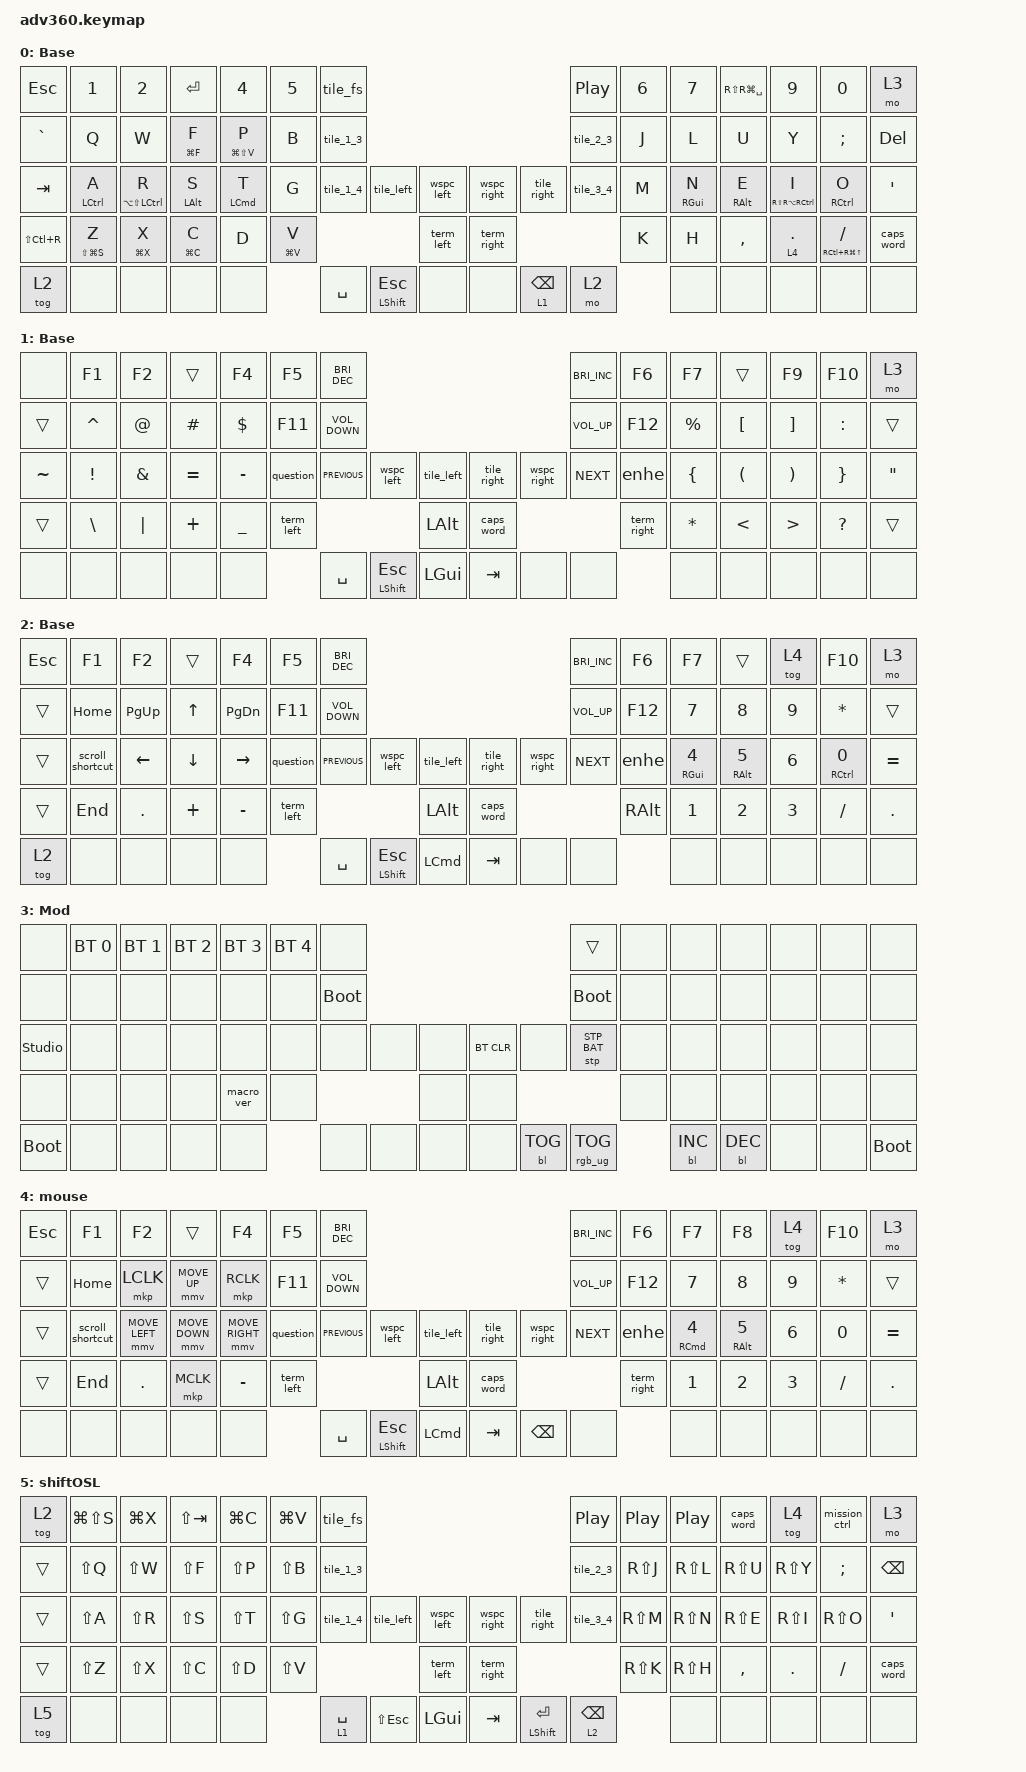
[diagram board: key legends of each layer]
#include <dt-bindings/zmk/stp.h>
#include <behaviors.dtsi>
#include <dt-bindings/zmk/backlight.h>
#include <dt-bindings/zmk/bt.h>
#include <dt-bindings/zmk/keys.h>
#include <dt-bindings/zmk/pointing.h>
#include <dt-bindings/zmk/rgb.h>

/ {
    behaviors {
        #include "macros.dtsi"
      #include "version.dtsi"

        hm: homerow_mods {
            compatible = "zmk,behavior-hold-tap";
            label = "HOMEROW_MODS";
            #binding-cells = <2>;
            tapping-term-ms = <160>;
            flavor = "tap-preferred";
            bindings = <&kp>, <&kp>;
        };

        dtap_cv: dtap_cv {
            compatible = "zmk,behavior-tap-dance";
            label = "DTAP_CV";
            #binding-cells = <0>;
            tapping-term-ms = <200>;
            bindings = <&kp LG(C)>, <&kp LG(V)>;
        };

        hold_tap_qk: hold_tap_qk {
            compatible = "zmk,behavior-hold-tap";
            label = "HOLD_TAP_QK";
            bindings = <&kp>, <&kp>;

            #binding-cells = <2>;
            tapping-term-ms = <150>;
            quick-tap-ms = <0>;
            flavor = "tap-preferred";
        };

        dtap_pn: dtap_pn {
            compatible = "zmk,behavior-tap-dance";
            label = "DTAP_PN";
            #binding-cells = <0>;
            tapping-term-ms = <150>;
            bindings = <&kp C_NEXT>, <&kp C_PREVIOUS>;
        };
    };

    macros {
        enhe: enhe {
            compatible = "zmk,behavior-macro";
            #binding-cells = <0>;
            bindings = <&kp RA(N) &kp N>;
            label = "ENHE";
        };

        question: question {
            compatible = "zmk,behavior-macro";
            #binding-cells = <0>;
            bindings = <&kp RA(QUESTION)>;
            label = "QUESTION";
        };

        paste_history: copy_history {
            compatible = "zmk,behavior-macro";
            #binding-cells = <0>;
            bindings = <&kp RG(RS(V))>;
            label = "COPY_HISTORY";
        };

        sc_area: area_sc {
            compatible = "zmk,behavior-macro";
            #binding-cells = <0>;
            bindings = <&kp LG(LS(S))>;
            label = "AREA_SC";
        };

        tile_left: tile_left {
            compatible = "zmk,behavior-macro";
            #binding-cells = <0>;
            bindings = <&kp LA(LC(LEFT_ARROW))>;
            label = "TILE_LEFT";
        };

        tile_right: tile_right {
            compatible = "zmk,behavior-macro";
            #binding-cells = <0>;
            bindings = <&kp LA(LC(RIGHT_ARROW))>;
            label = "TILE_RIGHT";
        };

        tile_1_3: tile_1_3 {
            compatible = "zmk,behavior-macro";
            #binding-cells = <0>;
            bindings = <&kp LA(LC(G))>;
            label = "TILE_1_3";
        };

        tile_2_3: tile_2_3 {
            compatible = "zmk,behavior-macro";
            #binding-cells = <0>;
            bindings = <&kp LA(LC(E))>;
            label = "TILE_2_3";
        };

        tile_fs: tile_fs {
            compatible = "zmk,behavior-macro";
            #binding-cells = <0>;
            bindings = <&kp LA(LC(ENTER))>;
            label = "TILE_FS";
        };

        wspc_left: new_macro {
            compatible = "zmk,behavior-macro";
            #binding-cells = <0>;
            bindings = <&kp LG(LC(LEFT_ARROW))>;
            label = "NEW_MACRO";
        };

        wspc_right: wspc_left {
            compatible = "zmk,behavior-macro";
            #binding-cells = <0>;
            bindings = <&kp RG(RC(RIGHT_ARROW))>;
            label = "WSPC_LEFT";
        };

        term_left: term_left {
            compatible = "zmk,behavior-macro";
            #binding-cells = <0>;
            bindings = <&kp LG(LA(LEFT_ARROW))>;
            label = "TERM_LEFT";
        };

        term_right: term_right {
            compatible = "zmk,behavior-macro";
            #binding-cells = <0>;
            bindings = <&kp LG(LA(RIGHT_ARROW))>;
            label = "TERM_RIGHT";
        };

        mission_ctrl: mission_ctrl {
            compatible = "zmk,behavior-macro";
            #binding-cells = <0>;
            bindings = <&kp RG(RC(UP_ARROW))>;
            label = "MISSION_CTRL";
        };

        tile_1_4: tile_1_4 {
            compatible = "zmk,behavior-macro";
            #binding-cells = <0>;
            bindings = <&kp LA(LC(F))>;
            label = "TILE_1_4";
        };

        tile_3_4: tile_3_4 {
            compatible = "zmk,behavior-macro";
            #binding-cells = <0>;
            bindings = <&kp LA(LC(N))>;
            label = "TILE_3_4";
        };

        scroll_shortcut: scroll_shortcut {
            compatible = "zmk,behavior-macro";
            #binding-cells = <0>;
            bindings = <&kp RG(RS(RC(SPACE)))>;
            label = "SCROLL_SHORTCUT";
        };

        homerow_sc: homerow_sc {
            compatible = "zmk,behavior-macro";
            #binding-cells = <0>;
            bindings = <&kp RG(RS(SPACE))>;
            label = "HOMEROW_SC";
        };

        d_esc: d_esc {
            compatible = "zmk,behavior-macro";
            #binding-cells = <0>;
            bindings = <&kp ESCAPE &kp ESCAPE>;
            label = "D_ESC";
            wait-ms = <50>;
        };
    };

    combos { compatible = "zmk,combos"; };

    keymap {
        compatible = "zmk,keymap";

        base {
            display-name = "Base";
            bindings = <
&kp ESCAPE     &kp N1           &kp N2               &kp ENTER       &kp N4              &kp N5       &tile_fs                                                                                 &kp C_PLAY_PAUSE  &kp N6  &kp N7           &kp RS(RG(SPACE))  &kp N9               &kp N0                      &mo 3
&kp GRAVE      &kp Q            &kp W                &hm LG(F) F     &hm LG(LS(V)) P     &kp B        &tile_1_3                                                                                &tile_2_3         &kp J   &kp L            &kp U              &kp Y                &kp SEMI                    &kp DELETE
&kp TAB        &hm LCTRL A      &hm LA(LS(LCTRL)) R  &hm LEFT_ALT S  &hm LEFT_COMMAND T  &kp G        &tile_1_4  &tile_left                      &wspc_left      &wspc_right  &tile_right      &tile_3_4         &kp M   &hm RIGHT_GUI N  &hm RIGHT_ALT E    &hm RS(RA(RCTRL)) I  &hm RCTRL O                 &kp SQT
&kp LS(LC(R))  &hm LS(LG(S)) Z  &hm LG(X) X          &hm LG(C) C     &kp D               &hm LG(V) V                                             &term_left      &term_right                                     &kp K   &kp H            &kp COMMA          &lt 4 PERIOD         &hm RC(RG(UP_ARROW)) SLASH  &caps_word
&tog 2         &none            &none                &none           &none                            &kp SPACE  &hold_tap_qk LEFT_SHIFT ESCAPE  &none           &none        &lt 1 BACKSPACE  &mo 2                     &none            &none              &none                &none                       &none
            >;
        };

        symbol {
            display-name = "Base";
            bindings = <
&none      &kp F1           &kp F2         &trans     &kp F4          &kp F5      &kp C_BRIGHTNESS_DEC                                                                              &kp C_BRIGHTNESS_INC  &kp F6       &kp F7          &trans                &kp F9                 &kp F10          &mo 3
&trans     &kp CARET        &kp AT_SIGN    &kp POUND  &kp DOLLAR      &kp F11     &kp C_VOLUME_DOWN                                                                                 &kp C_VOLUME_UP       &kp F12      &kp PERCENT     &kp LEFT_BRACKET      &kp RIGHT_BRACKET      &kp COLON        &trans
&kp TILDE  &kp EXCLAMATION  &kp AMPERSAND  &kp EQUAL  &kp MINUS       &question   &kp C_PREVIOUS        &wspc_left                      &tile_left        &tile_right  &wspc_right  &kp C_NEXT            &enhe        &kp LEFT_BRACE  &kp LEFT_PARENTHESIS  &kp RIGHT_PARENTHESIS  &kp RIGHT_BRACE  &kp DOUBLE_QUOTES
&trans     &kp BACKSLASH    &kp PIPE       &kp PLUS   &kp UNDERSCORE  &term_left                                                        &kp LEFT_ALT      &caps_word                                      &term_right  &kp ASTERISK    &kp LESS_THAN         &kp GREATER_THAN       &kp QUESTION     &trans
&none      &none            &none          &none      &none                       &kp SPACE             &hold_tap_qk LEFT_SHIFT ESCAPE  &kp LEFT_GUI      &kp TAB      &none        &none                              &none           &none                 &none                  &none            &none
            >;
        };

        nav {
            display-name = "Base";
            bindings = <
&kp ESCAPE  &kp F1            &kp F2          &trans          &kp F4           &kp F5      &kp C_BRIGHTNESS_DEC                                                                                  &kp C_BRIGHTNESS_INC  &kp F6         &kp F7                  &trans                  &tog 4        &kp F10             &mo 3
&trans      &kp HOME          &kp PAGE_UP     &kp UP_ARROW    &kp PAGE_DOWN    &kp F11     &kp C_VOLUME_DOWN                                                                                     &kp C_VOLUME_UP       &kp F12        &kp NUMBER_7            &kp NUMBER_8            &kp NUMBER_9  &kp STAR            &trans
&trans      &scroll_shortcut  &kp LEFT_ARROW  &kp DOWN_ARROW  &kp RIGHT_ARROW  &question   &kp C_PREVIOUS        &wspc_left                      &tile_left            &tile_right  &wspc_right  &kp C_NEXT            &enhe          &hm RIGHT_GUI NUMBER_4  &hm RIGHT_ALT NUMBER_5  &kp NUMBER_6  &hm RCTRL NUMBER_0  &kp EQUAL
&trans      &kp END           &kp DOT         &kp PLUS        &kp MINUS        &term_left                                                        &kp LEFT_ALT          &caps_word                                      &kp RIGHT_ALT  &kp NUMBER_1            &kp NUMBER_2            &kp NUMBER_3  &kp SLASH           &kp DOT
&tog 2      &none             &none           &none           &none                        &kp SPACE             &hold_tap_qk LEFT_SHIFT ESCAPE  &kp LEFT_COMMAND      &kp TAB      &none        &none                                &none                   &none                   &none         &none               &none
            >;
        };

        mod {
            display-name = "Mod";
            bindings = <
&none           &bt BT_SEL 0  &bt BT_SEL 1  &bt BT_SEL 2  &bt BT_SEL 3  &bt BT_SEL 4  &none                                                  &trans           &none  &none       &none       &none  &none  &none
&none           &none         &none         &none         &none         &none         &bootloader                                            &bootloader      &none  &none       &none       &none  &none  &none
&studio_unlock  &none         &none         &none         &none         &none         &none        &none  &none      &bt BT_CLR  &none       &stp STP_BAT     &none  &none       &none       &none  &none  &none
&none           &none         &none         &none         &macro_ver    &none                             &none      &none                                    &none  &none       &none       &none  &none  &none
&bootloader     &none         &none         &none         &none                       &none        &none  &none      &none       &bl BL_TOG  &rgb_ug RGB_TOG         &bl BL_INC  &bl BL_DEC  &none  &none  &bootloader
            >;
        };

        mouse {
            display-name = "mouse";
            bindings = <
&kp ESCAPE  &kp F1            &kp F2          &trans          &kp F4           &kp F5      &kp C_BRIGHTNESS_DEC                                                                                    &kp C_BRIGHTNESS_INC  &kp F6       &kp F7                      &kp F8                  &tog 4        &kp F10       &mo 3
&trans      &kp HOME          &mkp LCLK       &mmv MOVE_UP    &mkp RCLK        &kp F11     &kp C_VOLUME_DOWN                                                                                       &kp C_VOLUME_UP       &kp F12      &kp NUMBER_7                &kp NUMBER_8            &kp NUMBER_9  &kp STAR      &trans
&trans      &scroll_shortcut  &mmv MOVE_LEFT  &mmv MOVE_DOWN  &mmv MOVE_RIGHT  &question   &kp C_PREVIOUS        &wspc_left                      &tile_left            &tile_right  &wspc_right    &kp C_NEXT            &enhe        &hm RIGHT_COMMAND NUMBER_4  &hm RIGHT_ALT NUMBER_5  &kp NUMBER_6  &kp NUMBER_0  &kp EQUAL
&trans      &kp END           &kp DOT         &mkp MCLK       &kp MINUS        &term_left                                                        &kp LEFT_ALT          &caps_word                                        &term_right  &kp NUMBER_1                &kp NUMBER_2            &kp NUMBER_3  &kp SLASH     &kp DOT
&none       &none             &none           &none           &none                        &kp SPACE             &hold_tap_qk LEFT_SHIFT ESCAPE  &kp LEFT_COMMAND      &kp TAB      &kp BACKSPACE  &none                              &none                       &none                   &none         &none         &none
            >;
        };

        shiftOSL {
            display-name = "shiftOSL";
            bindings = <
&tog 2  &kp LG(LS(S))  &kp LG(X)  &kp LS(TAB)  &kp LG(C)  &kp LG(V)  &tile_fs                                                                                   &kp C_PLAY_PAUSE  &kp C_PLAY_PAUSE  &kp C_PLAY_PAUSE  &caps_word  &tog 4      &mission_ctrl  &mo 3
&trans  &kp LS(Q)      &kp LS(W)  &kp LS(F)    &kp LS(P)  &kp LS(B)  &tile_1_3                                                                                  &tile_2_3         &kp RS(J)         &kp RS(L)         &kp RS(U)   &kp RS(Y)   &kp SEMI       &kp BACKSPACE
&trans  &kp LS(A)      &kp LS(R)  &kp LS(S)    &kp LS(T)  &kp LS(G)  &tile_1_4    &tile_left      &wspc_left        &wspc_right  &tile_right                    &tile_3_4         &kp RS(M)         &kp RS(N)         &kp RS(E)   &kp RS(I)   &kp RS(O)      &kp SQT
&trans  &kp LS(Z)      &kp LS(X)  &kp LS(C)    &kp LS(D)  &kp LS(V)                               &term_left        &term_right                                                   &kp RS(K)         &kp RS(H)         &kp COMMA   &kp PERIOD  &kp SLASH      &caps_word
&tog 5  &none          &none      &none        &none                 &lt 1 SPACE  &kp LS(ESCAPE)  &kp LEFT_GUI      &kp TAB      &hold_tap_qk LEFT_SHIFT ENTER  &lt 2 BACKSPACE                     &none             &none       &none       &none          &none
            >;
        };
    };
};
